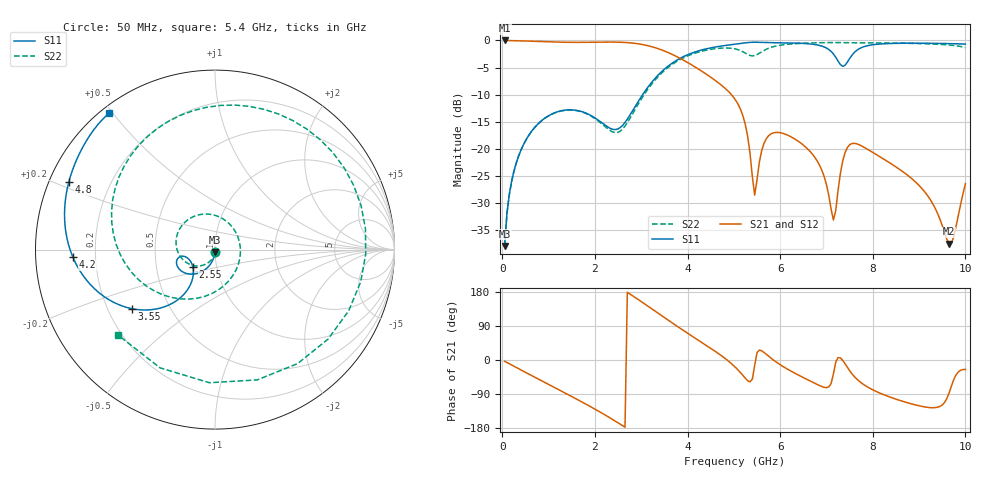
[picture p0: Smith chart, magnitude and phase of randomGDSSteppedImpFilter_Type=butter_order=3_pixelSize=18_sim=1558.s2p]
! freq	dB(S11)	phase(S11)	dB(S12)	phase(S12)
!  dB(S21)	phase(S21)	dB(S22)	phase(S22)
!S-par simulation data
#  GHz  S  DB  R 50
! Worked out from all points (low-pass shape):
!   200 points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, 50 MHz to 10 GHz, reference 50 ohm
!   highest |S21| = -0.01 dB at 50 MHz (marker M1); lowest = -37.5 dB at 9.65 GHz (marker M2)
!   |S21| within 3 dB of the highest: start of sweep to 3.772 GHz
!   lowest |S11| = -37.9 dB at 50 MHz (marker M3), VSWR 1.03, Z = 49.9 - j1.28 ohm
!   |S11| at or under -10 dB: start of sweep to 3.03 GHz
!   |S22| runs from -37.9 to -0.4 dB; largest |S21 - S12| = 0
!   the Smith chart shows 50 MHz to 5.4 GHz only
!   S11 on the Smith chart (normalised r, x): 50 MHz: 1.00, -0.03; 2.55 GHz: 0.77, -0.16; 3.55 GHz: 0.30, -0.29; 4.2 GHz: 0.12, -0.03; 4.8 GHz: 0.06, +0.22; 5.4 GHz: 0.02, +0.49
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0.05  -37.88 -91.7  -0.01 -3.3  -0.01 -3.3  -37.91 -93.4
0.55  -17.77 -117.4  -0.12 -35.7  -0.12 -35.7  -17.80 -134.9
1.75  -13.21 -165.3  -0.35 -112.8  -0.35 -112.8  -13.27 119.2
2.55  -16.03 -141.2  -0.33 -169.6  -0.33 -169.6  -16.69 -18.8
3.4  -6.08 -137.4  -1.62 120.5  -1.62 120.5  -6.36 -164.6
3.55  -4.93 -144.4  -2.12 107.8  -2.12 107.8  -5.18 177.2
4.2  -2.02 -176.9  -5.09 54.8  -5.09 54.8  -2.24 104.3
4.8  -0.94 155.3  -8.74 5.2  -8.74 5.2  -1.39 32.4
5.05  -0.66 144.3  -11.16 -21.2  -11.16 -21.2  -1.60 -12.5
5.25  -0.44 135.2  -15.59 -48.4  -15.59 -48.4  -2.35 -72.1
5.4  -0.34 127.9  -25.16 -50.0  -25.16 -50.0  -2.85 -138.6
5.55  -0.34 120.6  -22.46 26.1  -22.46 26.1  -2.36 155.5
5.8  -0.41 109.1  -17.23 5.1  -17.23 5.1  -1.29 88.2
6.2  -0.46 89.6  -17.61 -27.0  -17.61 -27.0  -0.68 36.4
6.7  -0.70 56.8  -21.00 -58.6  -21.00 -58.6  -0.46 -1.0
7.1  -2.02 -0.3  -31.09 -62.0  -31.09 -62.0  -0.39 -23.6
7.3  -4.44 -78.9  -24.54 5.7  -24.54 5.7  -0.41 -33.6
7.55  -2.73 153.9  -19.00 -36.2  -19.00 -36.2  -0.44 -44.9
7.85  -1.05 95.7  -19.87 -68.5  -19.87 -68.5  -0.44 -57.5
8.35  -0.57 54.3  -22.47 -96.8  -22.47 -96.8  -0.47 -77.3
9.65  -0.58 -12.5  -37.48 -86.4  -37.48 -86.4  -0.85 -131.6
10  -0.68 -29.2  -26.39 -24.9  -26.39 -24.9  -1.32 -155.1
